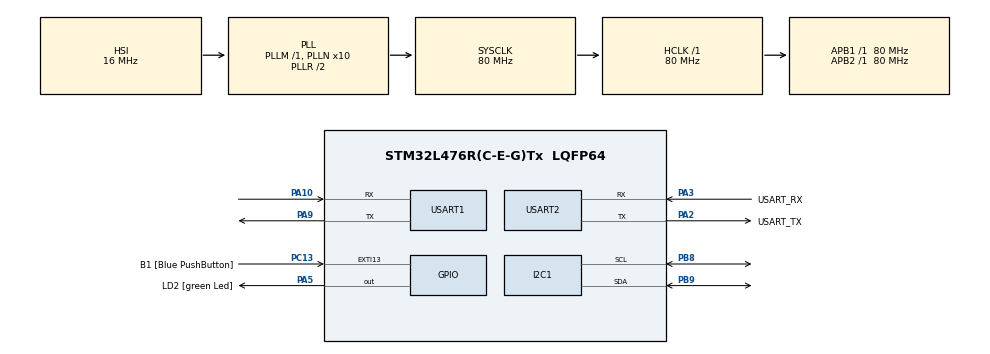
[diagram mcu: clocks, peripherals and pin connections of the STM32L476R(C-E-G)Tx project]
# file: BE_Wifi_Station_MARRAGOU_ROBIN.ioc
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I2C1.Timing=0x10909CEC
Mcu.Family=STM32L4
Mcu.Name=STM32L476R(C-E-G)Tx
Mcu.Package=LQFP64
NVIC.PriorityGroup=NVIC_PRIORITYGROUP_4
NVIC.USART2_IRQn=true\:0\:0\:false\:false\:true\:true\:true
PA10.Mode=Asynchronous
PA10.Signal=USART1_RX
PA13\ (JTMS-SWDIO).GPIO_Label=TMS
PA13\ (JTMS-SWDIO).Mode=Serial_Wire
PA13\ (JTMS-SWDIO).Signal=SYS_JTMS-SWDIO
PA14\ (JTCK-SWCLK).GPIO_Label=TCK
PA14\ (JTCK-SWCLK).Mode=Serial_Wire
PA14\ (JTCK-SWCLK).Signal=SYS_JTCK-SWCLK
PA2.GPIO_Label=USART_TX
PA2.GPIO_Mode=GPIO_MODE_AF_PP
PA2.GPIO_PuPd=GPIO_NOPULL
PA2.GPIO_Speed=GPIO_SPEED_FREQ_VERY_HIGH
PA2.Mode=Asynchronous
PA2.Signal=USART2_TX
PA3.GPIO_Label=USART_RX
PA3.GPIO_Mode=GPIO_MODE_AF_PP
PA3.GPIO_PuPd=GPIO_NOPULL
PA3.GPIO_Speed=GPIO_SPEED_FREQ_VERY_HIGH
PA3.Mode=Asynchronous
PA3.Signal=USART2_RX
PA5.GPIO_Label=LD2 [green Led]
PA5.GPIO_ModeDefaultOutputPP=GPIO_MODE_OUTPUT_PP
PA5.GPIO_PuPd=GPIO_NOPULL
PA5.GPIO_Speed=GPIO_SPEED_FREQ_LOW
PA5.Signal=GPIO_Output
PA9.Mode=Asynchronous
PA9.Signal=USART1_TX
PB3\ (JTDO-TRACESWO).GPIO_Label=SWO
PB3\ (JTDO-TRACESWO).Signal=SYS_JTDO-SWO
PB8.Mode=I2C
PB8.Signal=I2C1_SCL
PB9.Mode=I2C
PB9.Signal=I2C1_SDA
PC13.GPIO_Label=B1 [Blue PushButton]
PC13.GPIO_ModeDefaultEXTI=GPIO_MODE_IT_FALLING
PC13.GPIO_PuPd=GPIO_NOPULL
PC13.Signal=GPXTI13
PC14-OSC32_IN\ (PC14).Mode=LSE-External-Oscillator
PC14-OSC32_IN\ (PC14).Signal=RCC_OSC32_IN
PC15-OSC32_OUT\ (PC15).Mode=LSE-External-Oscillator
PC15-OSC32_OUT\ (PC15).Signal=RCC_OSC32_OUT
PH0-OSC_IN\ (PH0).Mode=HSE-External-Oscillator
PH0-OSC_IN\ (PH0).Signal=RCC_OSC_IN
PH1-OSC_OUT\ (PH1).Mode=HSE-External-Oscillator
PH1-OSC_OUT\ (PH1).Signal=RCC_OSC_OUT
ProjectManager.HeapSize=0x200
ProjectManager.StackSize=0x400
ProjectManager.TargetToolchain=STM32CubeIDE
RCC.ADCFreq_Value=64000000
RCC.AHBFreq_Value=80000000
RCC.APB1Freq_Value=80000000
RCC.APB1TimFreq_Value=80000000
RCC.APB2Freq_Value=80000000
RCC.APB2TimFreq_Value=80000000
RCC.CortexFreq_Value=80000000
RCC.HCLKFreq_Value=80000000
RCC.HSE_VALUE=8000000
RCC.HSI_VALUE=16000000
RCC.MSI_VALUE=4000000
RCC.PLLN=10
RCC.PLLSourceVirtual=RCC_PLLSOURCE_HSI
RCC.PREFETCH_ENABLE=1
RCC.SYSCLKFreq_VALUE=80000000
RCC.SYSCLKSource=RCC_SYSCLKSOURCE_PLLCLK
RCC.USBFreq_Value=64000000
RCC.VCOOutputFreq_Value=160000000
USART1.VirtualMode-Asynchronous=VM_ASYNC
USART2.VirtualMode-Asynchronous=VM_ASYNC
board=NUCLEO-L476RG

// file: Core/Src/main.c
/* USER CODE BEGIN Header */
/**
  ******************************************************************************
  * @file           : main.c
  * @brief          : Main program body
  ******************************************************************************
  * @attention
  *
  * Copyright (c) 2022 STMicroelectronics.
  * All rights reserved.
  *
  * This software is licensed under terms that can be found in the LICENSE file
  * in the root directory of this software component.
  * If no LICENSE file comes with this software, it is provided AS-IS.
  *
  ******************************************************************************
  */
/* USER CODE END Header */
#include "main.h"
#include "i2c.h"
#include "usart.h"
#include "gpio.h"

/* USER CODE BEGIN Includes */
#include "lib_lcd.h"
#include "ESP8266_HAL.h"
#include <string.h>
#include <stdio.h>
/* USER CODE END Includes */

/* USER CODE BEGIN PTD */
static rgb_lcd lcdData;
/* USER CODE END PTD */

/* USER CODE BEGIN PV */
float Temperature = 0, Humidite = 0;
char tabH[20]; //tableau de caractère pour l'humidité à afficher sur le LCD
char tabT[20]; //tableau de caractère pour la température à afficher sur le LCD
UART_HandleTypeDef huart1;
UART_HandleTypeDef huart2;
uint8_t send_buffer[100] = "";
uint8_t send_buffer1[100] = "";
/* USER CODE END PV */

void SystemClock_Config(void);
/* USER CODE BEGIN PFP */
void DHT22_Display_Data(void);//Afficher humidité, température et luminosité sur LCD
/* USER CODE END PFP */

/* USER CODE BEGIN 0 */
void DHT22_Display_Data(void)
{
	sprintf(tabH,"Humidite: %.1f ", Humidite);
	sprintf(tabT, "Temp.: %.1f C   ", Temperature);
	lcd_position(&hi2c1, 0, 0);
	lcd_print(&hi2c1, tabH);
	lcd_print(&hi2c1, "%");
	lcd_position(&hi2c1, 0, 1);
	lcd_print(&hi2c1, tabT);
}
/* USER CODE END 0 */

int main(void)
{

  /* MCU Configuration--------------------------------------------------------*/

  /* Reset of all peripherals, Initializes the Flash interface and the Systick. */
  HAL_Init();

  /* Configure the system clock */
  SystemClock_Config();

  /* Initialize all configured peripherals */
  MX_GPIO_Init();
  MX_USART2_UART_Init();
  MX_I2C1_Init();
  MX_USART1_UART_Init();
  /* USER CODE BEGIN 2 */
  lcd_init(&hi2c1, &lcdData); //initialisation lcd
  //HAL_UART_Transmit(&huart1, (uint8_t*)"AT+RST\r\n", strlen("AT+RST\r\n"), 100);
  //HAL_UART_Receive(&huart1, send_buffer, 50, 100);
  //memset(send_buffer, 0, 15);
  //HAL_UART_Transmit(&huart1, (uint8_t*)"AT+CWMODE=1\r\n", strlen("AT+CWMODE=1\r\n"), 100);
  HAL_UART_Transmit(&huart1, (uint8_t*)"AT+CWJAP=\"AndroidAPD220\",\"yjai1186\"\r\n", strlen("AT+CWJAP=\"AndroidAPD220\",\"yjai1186\"\r\n"), 100);
  HAL_UART_Receive(&huart1, send_buffer1, 100, 100);
  /* USER CODE END 2 */

  /* Infinite loop */
  while (1)
  {
  }
}

void SystemClock_Config(void)
{
  RCC_OscInitTypeDef RCC_OscInitStruct = {0};
  RCC_ClkInitTypeDef RCC_ClkInitStruct = {0};

  /** Configure the main internal regulator output voltage
  */
  if (HAL_PWREx_ControlVoltageScaling(PWR_REGULATOR_VOLTAGE_SCALE1) != HAL_OK)
  {
    Error_Handler();
  }
  /** Initializes the RCC Oscillators according to the specified parameters
  * in the RCC_OscInitTypeDef structure.
  */
  RCC_OscInitStruct.OscillatorType = RCC_OSCILLATORTYPE_HSI;
  RCC_OscInitStruct.HSIState = RCC_HSI_ON;
  RCC_OscInitStruct.HSICalibrationValue = RCC_HSICALIBRATION_DEFAULT;
  RCC_OscInitStruct.PLL.PLLState = RCC_PLL_ON;
  RCC_OscInitStruct.PLL.PLLSource = RCC_PLLSOURCE_HSI;
  RCC_OscInitStruct.PLL.PLLM = 1;
  RCC_OscInitStruct.PLL.PLLN = 10;
  RCC_OscInitStruct.PLL.PLLP = RCC_PLLP_DIV7;
  RCC_OscInitStruct.PLL.PLLQ = RCC_PLLQ_DIV2;
  RCC_OscInitStruct.PLL.PLLR = RCC_PLLR_DIV2;
  if (HAL_RCC_OscConfig(&RCC_OscInitStruct) != HAL_OK)
  {
    Error_Handler();
  }
  /** Initializes the CPU, AHB and APB buses clocks
  */
  RCC_ClkInitStruct.ClockType = RCC_CLOCKTYPE_HCLK|RCC_CLOCKTYPE_SYSCLK
                              |RCC_CLOCKTYPE_PCLK1|RCC_CLOCKTYPE_PCLK2;
  RCC_ClkInitStruct.SYSCLKSource = RCC_SYSCLKSOURCE_PLLCLK;
  RCC_ClkInitStruct.AHBCLKDivider = RCC_SYSCLK_DIV1;
  RCC_ClkInitStruct.APB1CLKDivider = RCC_HCLK_DIV1;
  RCC_ClkInitStruct.APB2CLKDivider = RCC_HCLK_DIV1;

  if (HAL_RCC_ClockConfig(&RCC_ClkInitStruct, FLASH_LATENCY_4) != HAL_OK)
  {
    Error_Handler();
  }
}

void Error_Handler(void)
{
  __disable_irq();
  while (1)
  {
  }
}
